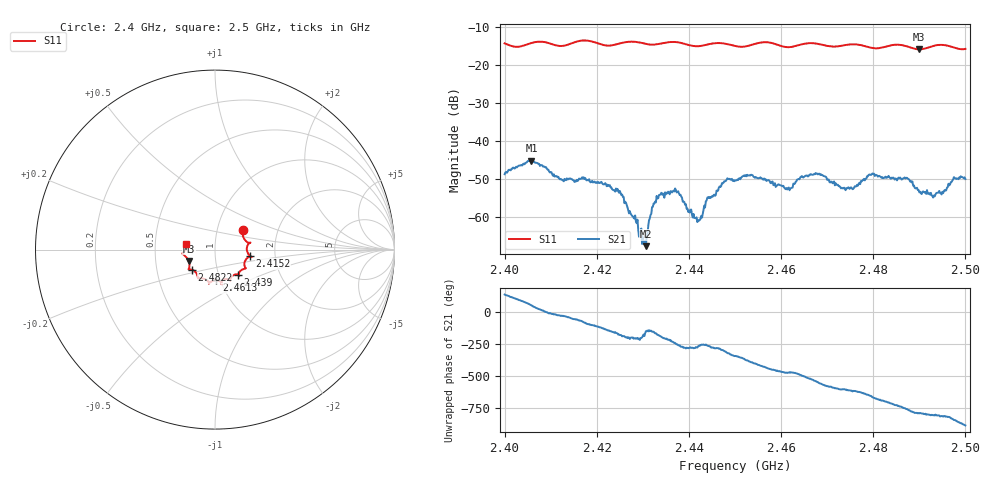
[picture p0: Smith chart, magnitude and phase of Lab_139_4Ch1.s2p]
# Hz S RI R 50
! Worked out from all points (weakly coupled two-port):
!   601 points, 2.4 GHz to 2.5 GHz, reference 50 ohm
!   highest |S21| = -45.10 dB at 2.4058 GHz (marker M1); lowest = -67.5 dB at 2.4307 GHz (marker M2)
!   lowest |S11| = -15.9 dB at 2.49 GHz (marker M3), VSWR 1.38, Z = 36.9 - j4.85 ohm
!   |S11| at or under -10 dB: start of sweep to end of sweep
!   S12 and S22 are empty: the file has one direction only
!   S11 on the Smith chart (normalised r, x): 2.4 GHz: 1.33, +0.31; 2.4152 GHz: 1.48, -0.11; 2.439 GHz: 1.24, -0.36; 2.4613 GHz: 0.96, -0.34; 2.4822 GHz: 0.76, -0.17; 2.5 GHz: 0.72, +0.05
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2.4e9  0.1561 0.1111  -0.00249 0.00272  0 0  0 0
2.405833e9  0.1903 0.0371  0.0037 0.00414  0 0  0 0
2.415167e9  0.1947 -0.0358  0.00145 -0.00253  0 0  0 0
2.416667e9  0.2043 -0.0417  0.000936 -0.00311  0 0  0 0
2.424667e9  0.1651 -0.0923  -0.00221 6.24e-06  0 0  0 0
2.430667e9  0.1522 -0.1114  -0.000378 -0.000182  0 0  0 0
2.431833e9  0.1408 -0.1188  -0.000971 -0.000553  0 0  0 0
2.433333e9  0.1329 -0.1327  -0.00178 8.37e-05  0 0  0 0
2.437167e9  0.1355 -0.1462  -0.000725 0.00217  0 0  0 0
2.439e9  0.1283 -0.1393  0.000305 0.00156  0 0  0 0
2.442333e9  0.0956 -0.1485  -0.00011 0.000917  0 0  0 0
2.444167e9  0.0855 -0.1652  -4.28e-05 0.00185  0 0  0 0
2.45e9  0.0685 -0.1637  0.003 0.000671  0 0  0 0
2.453333e9  0.037 -0.1775  0.00299 -0.00191  0 0  0 0
2.461333e9  0.00789 -0.1708  -0.00112 -0.00204  0 0  0 0
2.466667e9  -0.0333 -0.1902  -0.00357 -0.00063  0 0  0 0
2.4735e9  -0.082 -0.1603  -0.000979 0.00219  0 0  0 0
2.482167e9  -0.1281 -0.1122  0.00298 0.00135  0 0  0 0
2.483333e9  -0.1395 -0.1106  0.00345 0.000645  0 0  0 0
2.49e9  -0.1469 -0.064  0.000586 -0.00205  0 0  0 0
2.493167e9  -0.1765 -0.0272  9.14e-05 -0.00194  0 0  0 0
2.5e9  -0.1588 0.0334  -0.00313 -0.000633  0 0  0 0
